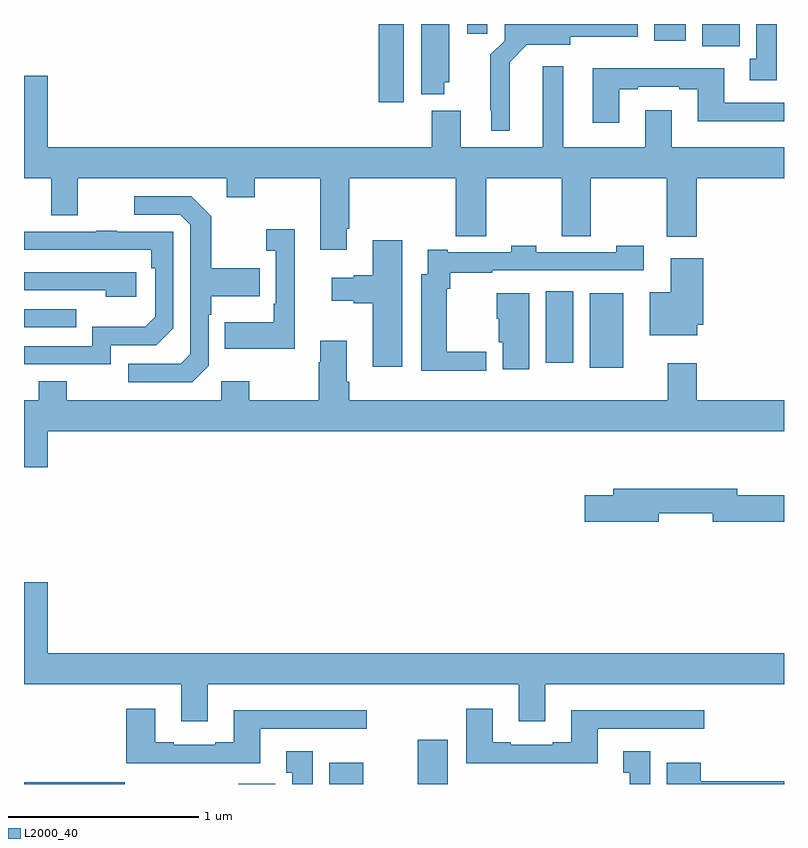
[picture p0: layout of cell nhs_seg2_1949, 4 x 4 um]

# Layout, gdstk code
import gdstk
lib = gdstk.Library(unit=1e-6, precision=1e-09)
def R(c, l, rs):  # rectangles x0, y0, x1, y1
    for r in rs: c.add(gdstk.rectangle(r[:2], r[2:], *l))
def P(c, l, *ps):  # polygons
    for p in ps: c.add(gdstk.Polygon(p, *l))
L2000_40 = (2000, 40)

nhs_seg2_1949 = lib.new_cell('nhs_seg2_1949')
R(nhs_seg2_1949, L2000_40, [(213,625.8,213.53,625.808), (214.127,625.8,214.323,625.801), (214.607,625.8,214.786,625.912), (215.072,625.8,215.23,626.032), (215.978,627.992,216.154,628.384), (215.747,628.017,215.89,628.393), (213,628.203,213.275,628.299), (214.868,629.388,214.999,629.8), (216.569,629.684,216.766,629.8), (216.317,629.712,216.484,629.8), (215.333,629.748,215.437,629.8)])
P(nhs_seg2_1949, L2000_40, [(215.212,629.493),(215.239,629.493),(215.239,629.8),(215.09,629.8),(215.09,629.429),(215.212,629.429)],
  [(216.961,629.8),(216.854,629.8),(216.854,629.618),(216.821,629.618),(216.821,629.505),(216.961,629.505)],
  [(215.557,629.6),(215.646,629.69),(215.875,629.69),(215.875,629.732),(216.229,629.732),(216.229,629.8),(215.529,629.8),(215.529,629.712),(215.455,629.638),(215.455,629.347),(215.459,629.347),(215.459,629.237),(215.557,629.237)],
  [(214.699,628.723),(214.712,628.723),(214.712,628.988),(215.273,628.988),(215.273,628.684),(215.432,628.684),(215.432,628.988),(215.83,628.988),(215.83,628.684),(215.984,628.684),(215.984,628.988),(216.382,628.988),(216.382,628.68),(216.542,628.68),(216.542,628.988),(217,628.988),(217,629.152),(216.409,629.152),(216.409,629.347),(216.269,629.347),(216.269,629.152),(215.839,629.152),(215.839,629.578),(215.729,629.578),(215.729,629.152),(215.299,629.152),(215.299,629.344),(215.147,629.344),(215.147,629.152),(213.124,629.152),(213.124,629.527),(213,629.527),(213,628.988),(213.143,628.988),(213.143,628.794),(213.283,628.794),(213.283,628.988),(214.067,628.988),(214.067,628.889),(214.215,628.889),(214.215,628.988),(214.559,628.988),(214.559,628.611),(214.699,628.611)],
  [(216.133,629.457),(216.229,629.457),(216.229,629.469),(216.449,629.469),(216.449,629.457),(216.545,629.457),(216.545,629.288),(217,629.288),(217,629.385),(216.685,629.385),(216.685,629.566),(215.993,629.566),(215.993,629.28),(216.133,629.28)],
  [(213.972,628.002),(213.972,628.271),(213.985,628.271),(213.985,628.367),(214.241,628.367),(214.241,628.515),(213.985,628.515),(213.985,628.787),(213.879,628.893),(213.579,628.893),(213.579,628.797),(213.822,628.797),(213.876,628.743),(213.876,628.062),(213.825,628.011),(213.549,628.011),(213.549,627.915),(213.885,627.915)],
  [(214.424,628.72),(214.275,628.72),(214.275,628.607),(214.326,628.607),(214.326,628.327),(214.314,628.327),(214.314,628.231),(214.057,628.231),(214.057,628.091),(214.424,628.091)],
  [(213.456,628.11),(213.696,628.11),(213.786,628.2),(213.786,628.707),(213.491,628.707),(213.491,628.712),(213.379,628.712),(213.379,628.707),(213,628.707),(213,628.611),(213.67,628.611),(213.67,628.514),(213.69,628.514),(213.69,628.26),(213.637,628.207),(213.36,628.207),(213.36,628.104),(213,628.104),(213,628.008),(213.456,628.008)],
  [(214.99,628.663),(214.835,628.663),(214.835,628.478),(214.736,628.478),(214.736,628.465),(214.62,628.465),(214.62,628.343),(214.736,628.343),(214.736,628.331),(214.835,628.331),(214.835,627.996),(214.99,627.996)],
  [(215.434,628.076),(215.224,628.076),(215.224,628.406),(215.243,628.406),(215.243,628.491),(215.465,628.491),(215.465,628.503),(216.262,628.503),(216.262,628.632),(216.117,628.632),(216.117,628.599),(215.697,628.599),(215.697,628.632),(215.565,628.632),(215.565,628.599),(215.23,628.599),(215.23,628.612),(215.126,628.612),(215.126,628.483),(215.09,628.483),(215.09,627.974),(215.434,627.974)],
  [(216.544,628.218),(216.575,628.218),(216.575,628.567),(216.404,628.567),(216.404,628.387),(216.293,628.387),(216.293,628.163),(216.544,628.163)],
  [(213.592,628.494),(213,628.494),(213,628.398),(213.431,628.398),(213.431,628.364),(213.592,628.364)],
  [(215.659,628.384),(215.489,628.384),(215.489,628.248),(215.498,628.248),(215.498,628.125),(215.519,628.125),(215.519,627.984),(215.659,627.984)],
  [(213.124,627.656),(217,627.656),(217,627.82),(216.542,627.82),(216.542,628.015),(216.389,628.015),(216.389,627.82),(214.712,627.82),(214.712,627.916),(214.699,627.916),(214.699,628.132),(214.559,628.132),(214.559,628.019),(214.552,628.019),(214.552,627.82),(214.185,627.82),(214.185,627.919),(214.038,627.919),(214.038,627.82),(213.225,627.82),(213.225,627.919),(213.077,627.919),(213.077,627.82),(213,627.82),(213,627.468),(213.124,627.468)],
  [(216.34,627.226),(216.626,627.226),(216.626,627.179),(217,627.179),(217,627.321),(216.754,627.321),(216.754,627.355),(216.101,627.355),(216.101,627.321),(215.952,627.321),(215.952,627.179),(216.34,627.179)],
  [(213.967,626.324),(215.603,626.324),(215.603,626.13),(215.743,626.13),(215.743,626.324),(217,626.324),(217,626.488),(213.124,626.488),(213.124,626.863),(213,626.863),(213,626.324),(213.827,626.324),(213.827,626.13),(213.967,626.13)],
  [(214.243,626.091),(214.804,626.091),(214.804,626.188),(214.103,626.188),(214.103,626.02),(214.007,626.02),(214.007,626.007),(213.787,626.007),(213.787,626.02),(213.691,626.02),(213.691,626.197),(213.539,626.197),(213.539,625.91),(214.243,625.91)],
  [(216.019,626.091),(216.58,626.091),(216.58,626.188),(215.879,626.188),(215.879,626.02),(215.783,626.02),(215.783,626.007),(215.563,626.007),(215.563,626.02),(215.467,626.02),(215.467,626.197),(215.327,626.197),(215.327,625.91),(216.019,625.91)],
  [(214.519,625.972),(214.379,625.972),(214.379,625.859),(214.412,625.859),(214.412,625.8),(214.519,625.8)],
  [(216.295,625.972),(216.155,625.972),(216.155,625.859),(216.188,625.859),(216.188,625.8),(216.295,625.8)],
  [(217,625.814),(216.562,625.814),(216.562,625.912),(216.383,625.912),(216.383,625.8),(217,625.8)])

lib.write_gds('nhs_seg2_1949.gds')
